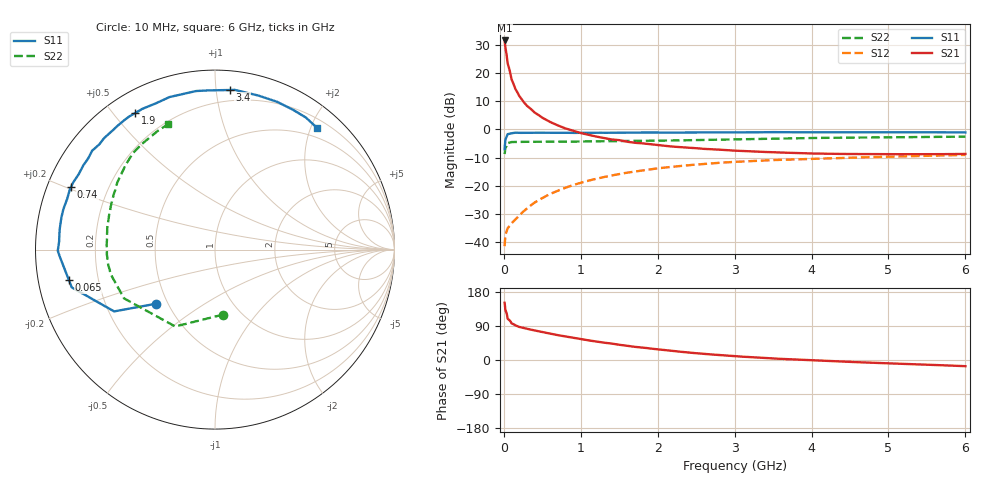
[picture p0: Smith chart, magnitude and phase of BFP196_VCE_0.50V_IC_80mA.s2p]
! Infineon Technologies  Discrete & RF Semiconductors
! BFP196
! VCE = 0.50V,  IC =  80mA
! Common Emitter S-Parameters:  Jan 2016
# GHz  S  MA  R  50
!  f  S11  S21  S12  S22
! GHz  MAG  ANG  MAG  ANG  MAG  ANG  MAG  ANG
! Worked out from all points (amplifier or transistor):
!   210 points, 10 MHz to 6 GHz, reference 50 ohm
!   highest |S21| = 31.7 dB at 10 MHz (marker M1)
!   |S21| within 3 dB of that: start of sweep to 23.78 MHz
!   unconditionally stable (mu >= 1): start of sweep to 13.94 MHz; 161.2 MHz to end of sweep
!   at 185 MHz: K = 1.07, MAG = 20.3 dB, |S12| = -31.1 dB
!   at 1.52 GHz: K = 1.25, MAG = 2.9 dB, |S12| = -15.8 dB
!   at 6 GHz: K = 1.09, MAG = -1.7 dB, |S12| = -9.1 dB
!   S11 on the Smith chart (normalised r, x): 10 MHz: 0.43, -0.33; 65 MHz: 0.09, -0.10; 740 MHz: 0.07, +0.21; 1.9 GHz: 0.08, +0.57; 3.4 GHz: 0.12, +1.09; 6 GHz: 0.33, +2.09
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0.01  0.4441 -137.3  38.64 151.0  0.0083 56.5  0.3649 -82.9
0.02  0.659 -148.5  29.32 131.8  0.0131 44.1  0.4823 -117.3
0.05  0.8254 -165.2  14.99 108.7  0.0173 35.7  0.575 -151.8
0.065  0.8321 -168.3  12.79 106.5  0.0184 37.7  0.5774 -156.3
0.1  0.8572 -175.4  7.805 96.7  0.0211 41.6  0.5967 -166.6
0.15  0.8761 -179.6  5.272 91.2  0.0248 46.9  0.601 -171.9
0.2  0.8697 177.1  3.967 87.3  0.0293 52.7  0.6013 -174.9
0.24  0.8708 175.0  3.326 85.1  0.0331 55.5  0.6027 -176.7
0.3  0.8727 172.5  2.649 82.1  0.039 58.8  0.6023 -178.5
0.4  0.8743 168.2  2.006 77.6  0.0497 61.6  0.6032 179.2
0.5  0.8744 165.1  1.622 73.8  0.0597 62.8  0.6041 177.3
0.58  0.8711 162.0  1.413 70.6  0.0683 63.0  0.604 176.0
0.74  0.8746 156.4  1.128 64.3  0.0848 62.2  0.6056 173.7
1.02  0.8706 146.8  0.851 54.6  0.1141 59.1  0.6103 169.9
1.4  0.8761 134.8  0.664 43.4  0.1509 53.1  0.6165 164.8
1.9  0.8809 120.4  0.545 30.4  0.1944 44.4  0.6275 158.2
2.02  0.8819 116.9  0.523 27.7  0.2039 42.2  0.6306 156.4
3.1  0.8875 90.5  0.413 8.8  0.268 24.0  0.6693 141.6
3.4  0.8929 84.8  0.397 5.2  0.2801 19.5  0.6818 137.7
4.1  0.8908 72.9  0.371 -1.6  0.3025 10.3  0.7071 129.2
5.1  0.8916 59.8  0.362 -9.5  0.3294 -1.0  0.725 119.1
6  0.8852 50.2  0.366 -16.3  0.352 -10.9  0.7454 110.5
